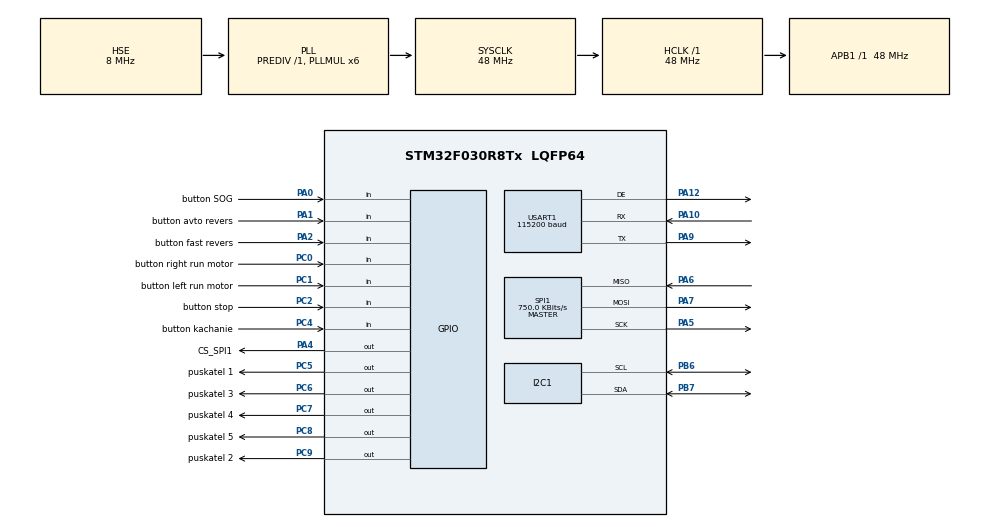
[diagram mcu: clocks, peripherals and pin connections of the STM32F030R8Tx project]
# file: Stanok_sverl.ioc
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FREERTOS.Tasks01=defaultTask,0,128,MainThred,Default;myTask02,-3,128,KompObmen,Default;myTask03,-3,128,ReadButtonThred,Default
FREERTOS.configTOTAL_HEAP_SIZE=4000
Mcu.Family=STM32F0
Mcu.Name=STM32F030R8Tx
Mcu.Package=LQFP64
NVIC.SPI1_IRQn=true\:0\:0\:false\:false\:true\:false
NVIC.TIM1_BRK_UP_TRG_COM_IRQn=true\:0\:0\:false\:false\:true\:false
NVIC.TimeBase=TIM1_BRK_UP_TRG_COM_IRQn
NVIC.TimeBaseIP=TIM1
NVIC.USART1_IRQn=true\:0\:0\:false\:false\:true\:false
PA0.GPIO_Label=button SOG
PA0.Signal=GPIO_Input
PA1.GPIO_Label=button avto revers
PA1.Signal=GPIO_Input
PA10.Mode=Asynchronous
PA10.Signal=USART1_RX
PA12.Mode=Hardware Flow Control (RS485)
PA12.Signal=USART1_DE
PA13.Mode=Serial_Wire
PA13.Signal=SYS_SWDIO
PA14.Mode=Serial_Wire
PA14.Signal=SYS_SWCLK
PA2.GPIO_Label=button fast revers
PA2.Signal=GPIO_Input
PA4.GPIO_Label=CS_SPI1
PA4.Signal=GPIO_Output
PA5.Mode=Full_Duplex_Master
PA5.Signal=SPI1_SCK
PA6.Mode=Full_Duplex_Master
PA6.Signal=SPI1_MISO
PA7.Mode=Full_Duplex_Master
PA7.Signal=SPI1_MOSI
PA9.Mode=Asynchronous
PA9.Signal=USART1_TX
PB6.Mode=I2C
PB6.Signal=I2C1_SCL
PB7.Mode=I2C
PB7.Signal=I2C1_SDA
PC0.GPIO_Label=button right run motor
PC0.Signal=GPIO_Input
PC1.GPIO_Label=button left run motor
PC1.Signal=GPIO_Input
PC14-OSC32_IN.Mode=LSE-External-Oscillator
PC14-OSC32_IN.Signal=RCC_OSC32_IN
PC15-OSC32_OUT.Mode=LSE-External-Oscillator
PC15-OSC32_OUT.Signal=RCC_OSC32_OUT
PC2.GPIO_Label=button stop
PC2.Signal=GPIO_Input
PC4.GPIO_Label=button kachanie
PC4.Signal=GPIO_Input
PC5.GPIO_Label=puskatel 1
PC5.Signal=GPIO_Output
PC6.GPIO_Label=puskatel 3
PC6.Signal=GPIO_Output
PC7.GPIO_Label=puskatel 4
PC7.Signal=GPIO_Output
PC8.GPIO_Label=puskatel 5
PC8.Signal=GPIO_Output
PC9.GPIO_Label=puskatel 2
PC9.Signal=GPIO_Output
PF0-OSC_IN.Mode=HSE-External-Oscillator
PF0-OSC_IN.Signal=RCC_OSC_IN
PF1-OSC_OUT.Mode=HSE-External-Oscillator
PF1-OSC_OUT.Signal=RCC_OSC_OUT
ProjectManager.HeapSize=0x200
ProjectManager.StackSize=0x400
ProjectManager.TargetToolchain=SW4STM32
RCC.AHBFreq_Value=48000000
RCC.APB1Freq_Value=48000000
RCC.APB1TimFreq_Value=48000000
RCC.HCLKFreq_Value=48000000
RCC.PLLMUL=RCC_PLL_MUL6
RCC.PLLSourceVirtual=RCC_PLLSOURCE_HSE
RCC.SYSCLKFreq_VALUE=48000000
RCC.SYSCLKSource=RCC_SYSCLKSOURCE_PLLCLK
SPI1.BaudRatePrescaler=SPI_BAUDRATEPRESCALER_64
SPI1.CalculateBaudRate=750.0 KBits/s
SPI1.DataSize=SPI_DATASIZE_8BIT
SPI1.Mode=SPI_MODE_MASTER
USART1.BaudRate=115200
VP_FREERTOS_VS_ENABLE.Mode=Enabled
VP_SYS_VS_tim1.Mode=TIM1
board=Stanok_sverl

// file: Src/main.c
/**
  ******************************************************************************
  * File Name          : main.c
  * Description        : Main program body
  ******************************************************************************
  *
  * COPYRIGHT(c) 2016 STMicroelectronics
  *
  * Redistribution and use in source and binary forms, with or without modification,
  * are permitted provided that the following conditions are met:
  *   1. Redistributions of source code must retain the above copyright notice,
  *      this list of conditions and the following disclaimer.
  *   2. Redistributions in binary form must reproduce the above copyright notice,
  *      this list of conditions and the following disclaimer in the documentation
  *      and/or other materials provided with the distribution.
  *   3. Neither the name of STMicroelectronics nor the names of its contributors
  *      may be used to endorse or promote products derived from this software
  *      without specific prior written permission.
  *
  * THIS SOFTWARE IS PROVIDED BY THE COPYRIGHT HOLDERS AND CONTRIBUTORS "AS IS"
  * AND ANY EXPRESS OR IMPLIED WARRANTIES, INCLUDING, BUT NOT LIMITED TO, THE
  * IMPLIED WARRANTIES OF MERCHANTABILITY AND FITNESS FOR A PARTICULAR PURPOSE ARE
  * DISCLAIMED. IN NO EVENT SHALL THE COPYRIGHT HOLDER OR CONTRIBUTORS BE LIABLE
  * FOR ANY DIRECT, INDIRECT, INCIDENTAL, SPECIAL, EXEMPLARY, OR CONSEQUENTIAL
  * DAMAGES (INCLUDING, BUT NOT LIMITED TO, PROCUREMENT OF SUBSTITUTE GOODS OR
  * SERVICES; LOSS OF USE, DATA, OR PROFITS; OR BUSINESS INTERRUPTION) HOWEVER
  * CAUSED AND ON ANY THEORY OF LIABILITY, WHETHER IN CONTRACT, STRICT LIABILITY,
  * OR TORT (INCLUDING NEGLIGENCE OR OTHERWISE) ARISING IN ANY WAY OUT OF THE USE
  * OF THIS SOFTWARE, EVEN IF ADVISED OF THE POSSIBILITY OF SUCH DAMAGE.
  *
  ******************************************************************************
  */
#include "stm32f0xx_hal.h"
#include "cmsis_os.h"
#include "i2c.h"
#include "spi.h"
#include "usart.h"
#include "gpio.h"

/* USER CODE BEGIN PV */
/* Private variables ---------------------------------------------------------*/

/* USER CODE END PV */

void SystemClock_Config(void);
void Error_Handler(void);
void MX_FREERTOS_Init(void);

/* USER CODE BEGIN PFP */
/* Private function prototypes -----------------------------------------------*/

/* USER CODE END PFP */

int main(void)
{

  /* MCU Configuration----------------------------------------------------------*/

  /* Reset of all peripherals, Initializes the Flash interface and the Systick. */
  HAL_Init();

  /* Configure the system clock */
  SystemClock_Config();

  /* Initialize all configured peripherals */
  MX_GPIO_Init();
  MX_SPI1_Init();
  MX_USART1_UART_Init();
  MX_I2C1_Init();

  /* Call init function for freertos objects (in freertos.c) */
  MX_FREERTOS_Init();

  /* Start scheduler */
  osKernelStart();

  /* We should never get here as control is now taken by the scheduler */

  /* Infinite loop */
  while (1)
  {

  }

}

/** System Clock Configuration
*/
void SystemClock_Config(void)
{

  RCC_OscInitTypeDef RCC_OscInitStruct;
  RCC_ClkInitTypeDef RCC_ClkInitStruct;
  RCC_PeriphCLKInitTypeDef PeriphClkInit;

  RCC_OscInitStruct.OscillatorType = RCC_OSCILLATORTYPE_HSI|RCC_OSCILLATORTYPE_HSE;
  RCC_OscInitStruct.HSEState = RCC_HSE_ON;
  RCC_OscInitStruct.HSIState = RCC_HSI_ON;
  RCC_OscInitStruct.HSICalibrationValue = 16;
  RCC_OscInitStruct.PLL.PLLState = RCC_PLL_ON;
  RCC_OscInitStruct.PLL.PLLSource = RCC_PLLSOURCE_HSE;
  RCC_OscInitStruct.PLL.PLLMUL = RCC_PLL_MUL6;
  RCC_OscInitStruct.PLL.PREDIV = RCC_PREDIV_DIV1;
  if (HAL_RCC_OscConfig(&RCC_OscInitStruct) != HAL_OK)
  {
    Error_Handler();
  }

  RCC_ClkInitStruct.ClockType = RCC_CLOCKTYPE_HCLK|RCC_CLOCKTYPE_SYSCLK
                              |RCC_CLOCKTYPE_PCLK1;
  RCC_ClkInitStruct.SYSCLKSource = RCC_SYSCLKSOURCE_PLLCLK;
  RCC_ClkInitStruct.AHBCLKDivider = RCC_SYSCLK_DIV1;
  RCC_ClkInitStruct.APB1CLKDivider = RCC_HCLK_DIV1;
  if (HAL_RCC_ClockConfig(&RCC_ClkInitStruct, FLASH_LATENCY_1) != HAL_OK)
  {
    Error_Handler();
  }

  PeriphClkInit.PeriphClockSelection = RCC_PERIPHCLK_USART1|RCC_PERIPHCLK_I2C1;
  PeriphClkInit.Usart1ClockSelection = RCC_USART1CLKSOURCE_PCLK1;
  PeriphClkInit.I2c1ClockSelection = RCC_I2C1CLKSOURCE_HSI;
  if (HAL_RCCEx_PeriphCLKConfig(&PeriphClkInit) != HAL_OK)
  {
    Error_Handler();
  }

  HAL_SYSTICK_Config(HAL_RCC_GetHCLKFreq()/1000);

  HAL_SYSTICK_CLKSourceConfig(SYSTICK_CLKSOURCE_HCLK);

  /* SysTick_IRQn interrupt configuration */
  HAL_NVIC_SetPriority(SysTick_IRQn, 3, 0);
}

void HAL_TIM_PeriodElapsedCallback(TIM_HandleTypeDef *htim)
{
  if (htim->Instance == TIM1) {
    HAL_IncTick();
  }
}

void Error_Handler(void)
{
  while(1)
  {
  }
}

/************************ (C) COPYRIGHT STMicroelectronics *****END OF FILE****/

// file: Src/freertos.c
/**
  ******************************************************************************
  * File Name          : freertos.c
  * Description        : Code for freertos applications
  ******************************************************************************
  *
  * COPYRIGHT(c) 2016 STMicroelectronics
  *
  * Redistribution and use in source and binary forms, with or without modification,
  * are permitted provided that the following conditions are met:
  *   1. Redistributions of source code must retain the above copyright notice,
  *      this list of conditions and the following disclaimer.
  *   2. Redistributions in binary form must reproduce the above copyright notice,
  *      this list of conditions and the following disclaimer in the documentation
  *      and/or other materials provided with the distribution.
  *   3. Neither the name of STMicroelectronics nor the names of its contributors
  *      may be used to endorse or promote products derived from this software
  *      without specific prior written permission.
  *
  * THIS SOFTWARE IS PROVIDED BY THE COPYRIGHT HOLDERS AND CONTRIBUTORS "AS IS"
  * AND ANY EXPRESS OR IMPLIED WARRANTIES, INCLUDING, BUT NOT LIMITED TO, THE
  * IMPLIED WARRANTIES OF MERCHANTABILITY AND FITNESS FOR A PARTICULAR PURPOSE ARE
  * DISCLAIMED. IN NO EVENT SHALL THE COPYRIGHT HOLDER OR CONTRIBUTORS BE LIABLE
  * FOR ANY DIRECT, INDIRECT, INCIDENTAL, SPECIAL, EXEMPLARY, OR CONSEQUENTIAL
  * DAMAGES (INCLUDING, BUT NOT LIMITED TO, PROCUREMENT OF SUBSTITUTE GOODS OR
  * SERVICES; LOSS OF USE, DATA, OR PROFITS; OR BUSINESS INTERRUPTION) HOWEVER
  * CAUSED AND ON ANY THEORY OF LIABILITY, WHETHER IN CONTRACT, STRICT LIABILITY,
  * OR TORT (INCLUDING NEGLIGENCE OR OTHERWISE) ARISING IN ANY WAY OUT OF THE USE
  * OF THIS SOFTWARE, EVEN IF ADVISED OF THE POSSIBILITY OF SUCH DAMAGE.
  *
  ******************************************************************************
  */

#include "FreeRTOS.h"
#include "task.h"
#include "cmsis_os.h"

/* USER CODE BEGIN Includes */
#include "stm32f0xx_hal.h"
#include "user.h"
/* USER CODE END Includes */

osThreadId defaultTaskHandle;
osThreadId myTask02Handle;
osThreadId myTask03Handle;

/* USER CODE BEGIN Variables */
UserFlag Flag;

uint16_t delayTormozRunRight = 2000;
uint16_t delayTormozRunLeft = 2000;
uint16_t delayTormogenie = 2000;
uint16_t delayKachanie = 500;
/* USER CODE END Variables */

void MainThred(void const * argument);
void KompObmen(void const * argument);
void ReadButtonThred(void const * argument);

void MX_FREERTOS_Init(void); /* (MISRA C 2004 rule 8.1) */

/* USER CODE BEGIN FunctionPrototypes */
void FunctionSOG(GPIO_PinState pinState);
void FunctionRunRight(GPIO_PinState pinState);
void FunctionRunLeft(GPIO_PinState pinState);
void FunctionTormogenie(GPIO_PinState pinState);
void InitUserStruct(void);
/* USER CODE END FunctionPrototypes */

/* Hook prototypes */

/* Init FreeRTOS */

void MX_FREERTOS_Init(void) {

  /* Create the thread(s) */
  /* definition and creation of defaultTask */
  osThreadDef(defaultTask, MainThred, osPriorityNormal, 0, 128);
  defaultTaskHandle = osThreadCreate(osThread(defaultTask), NULL);

  /* definition and creation of myTask02 */
  osThreadDef(myTask02, KompObmen, osPriorityIdle, 0, 128);
  myTask02Handle = osThreadCreate(osThread(myTask02), NULL);

  /* definition and creation of myTask03 */
  osThreadDef(myTask03, ReadButtonThred, osPriorityIdle, 0, 128);
  myTask03Handle = osThreadCreate(osThread(myTask03), NULL);

}

/* MainThred function */
void MainThred(void const * argument)
{

  /* USER CODE BEGIN MainThred */
	InitUserStruct();//
  /* Infinite loop */
  while(1)
  {
	  if(HAL_GPIO_ReadPin(GPIOA, GPIO_PIN_0) == GPIO_PIN_RESET)//сож
	  {
		  osDelay(30);
		  FunctionSOG(GPIO_PIN_SET);
	  }
	  else
	  {
		  FunctionSOG(GPIO_PIN_RESET);
	  }
/////////////////////////////
	  if(HAL_GPIO_ReadPin(GPIOA, GPIO_PIN_2) == GPIO_PIN_RESET)//быстрый реверс
	  {
		  osDelay(30);
		  if(Flag.buttonRight == GPIO_PIN_SET)//правое вращение
		  {
			  if(Flag.runLeftMotor == GPIO_PIN_SET)
			  {
				  FunctionRunLeft(GPIO_PIN_RESET);
				  FunctionTormogenie(GPIO_PIN_SET);
				  osDelay(delayTormozRunRight);
				  FunctionTormogenie(GPIO_PIN_RESET);
				  osDelay(500);
				  FunctionRunRight(GPIO_PIN_SET);
			  }
			  else
			  {
				  FunctionRunRight(GPIO_PIN_SET);
			  }
		  }
		  ////////////////////////////////////
		  if(Flag.buttonLeft == GPIO_PIN_SET)//левое вращение
		  {
			  if(Flag.runRightMotor == GPIO_PIN_SET)
			  {
				  FunctionRunRight(GPIO_PIN_RESET);
				  FunctionTormogenie(GPIO_PIN_SET);
				  osDelay(delayTormozRunLeft);
				  FunctionTormogenie(GPIO_PIN_RESET);
				  osDelay(500);
				  FunctionRunLeft(GPIO_PIN_SET);
			  }
			  else
			  {
				  FunctionRunLeft(GPIO_PIN_SET);
			  }
		  }
	  }
	  else//быстрый реверс включен
	  {
		  if(Flag.buttonLeft == GPIO_PIN_SET)//реверс левого вращения
		  {
			  if(Flag.buttonLeft == GPIO_PIN_SET)
			  {
				  FunctionRunLeft(GPIO_PIN_RESET);
				  FunctionTormogenie(GPIO_PIN_SET);
				  osDelay(delayTormozRunLeft);
				  FunctionTormogenie(GPIO_PIN_RESET);
				  osDelay(500);
				  FunctionRunRight(GPIO_PIN_SET);
			  }
			  else
			  {
				  FunctionRunRight(GPIO_PIN_SET);
			  }
		  }
		  if(Flag.buttonRight == GPIO_PIN_SET)
		  {
			  if(Flag.buttonRight == GPIO_PIN_SET)
			  {
				  FunctionRunRight(GPIO_PIN_RESET);
				  FunctionTormogenie(GPIO_PIN_SET);
				  osDelay(delayTormozRunRight);
				  FunctionTormogenie(GPIO_PIN_RESET);
				  FunctionRunLeft(GPIO_PIN_SET);
			  }
			  else
			  {
				  FunctionRunLeft(GPIO_PIN_SET);
			  }
		  }
	  }
//////////////////////////////////////////
		if(Flag.buttonAvtoRevers == GPIO_PIN_SET)//автоматический реверс
		{
			if(Flag.runLeftMotor == GPIO_PIN_SET)
			{
				FunctionRunLeft(GPIO_PIN_RESET);
				osDelay(500);
				FunctionRunRight(GPIO_PIN_SET);
			}
			else if(Flag.runRightMotor == GPIO_PIN_SET)
			{
				FunctionRunRight(GPIO_PIN_RESET);
				osDelay(500);
				FunctionRunLeft(GPIO_PIN_SET);
			}
		}
////////////////////////////////
		if(Flag.buttonKachanie == GPIO_PIN_SET)//кнопка качание
		{
			Flag.kachanie = GPIO_PIN_SET;
			while(Flag.kachanie == GPIO_PIN_SET)
			{
				HAL_GPIO_WritePin(GPIOC, GPIO_PIN_7, GPIO_PIN_SET);
				osDelay(delayKachanie);
				HAL_GPIO_WritePin(GPIOC, GPIO_PIN_7, GPIO_PIN_RESET);
				osDelay(200);
				HAL_GPIO_WritePin(GPIOC, GPIO_PIN_8, GPIO_PIN_SET);
				osDelay(delayKachanie);
				HAL_GPIO_WritePin(GPIOC, GPIO_PIN_8, GPIO_PIN_RESET);
				osDelay(200);

				if(Flag.buttonLeft == GPIO_PIN_SET)//если нажата одна из кнопок выходим из цикла
				{
					Flag.buttonKachanie = GPIO_PIN_RESET;
				}
				if(Flag.buttonRight == GPIO_PIN_SET)
				{
					Flag.buttonKachanie = GPIO_PIN_RESET;
				}
			}
		}
////////////////////////////////
		if(Flag.buttonStop == GPIO_PIN_SET)//кнопка стоп
		{
			if(Flag.runLeftMotor == GPIO_PIN_SET)
			{
				FunctionRunLeft(GPIO_PIN_RESET);
			}
			else if(Flag.runRightMotor == GPIO_PIN_SET)
			{
				FunctionRunRight(GPIO_PIN_RESET);
			}
			else if(Flag.kachanie == GPIO_PIN_SET)
			{
				Flag.kachanie = GPIO_PIN_RESET;
			}
			FunctionTormogenie(GPIO_PIN_SET);
			osDelay(delayTormogenie);
			FunctionTormogenie(GPIO_PIN_RESET);
		}
    osDelay(1);
  }
  /* USER CODE END MainThred */
}

/* KompObmen function */
void KompObmen(void const * argument)
{
  while(1)
  {
    osDelay(1);
  }
}

/* ReadButtonThred function */
void ReadButtonThred(void const * argument)
{
  /* USER CODE BEGIN ReadButtonThred */
  /* Infinite loop */
  while(1)
  {
	  if(HAL_GPIO_ReadPin(GPIOC, GPIO_PIN_0) == GPIO_PIN_RESET)//кнопка правое вращение
	  {
		  osDelay(50);
		  Flag.buttonRight = GPIO_PIN_SET;
	  }
	  if(HAL_GPIO_ReadPin(GPIOC, GPIO_PIN_1) == GPIO_PIN_RESET)//левое вращение
	  {
		  osDelay(50);
		  Flag.buttonLeft = GPIO_PIN_SET;
	  }
	  if(HAL_GPIO_ReadPin(GPIOA, GPIO_PIN_5) == GPIO_PIN_RESET)//кнопка автореверс
	  {
		  osDelay(50);
		  Flag.buttonAvtoRevers = GPIO_PIN_SET;
	  }
	  if(HAL_GPIO_ReadPin(GPIOC, GPIO_PIN_4) == GPIO_PIN_RESET)//кнопка качание
	  {
		  osDelay(50);
		  Flag.buttonKachanie = GPIO_PIN_SET;
	  }
	  if(HAL_GPIO_ReadPin(GPIOC, GPIO_PIN_2) == GPIO_PIN_RESET)//кнопка стоп
	  {
		  osDelay(50);
		  Flag.buttonStop = GPIO_PIN_SET;
	  }
    osDelay(1);
  }
  /* USER CODE END ReadButtonThred */
}

/* USER CODE BEGIN Application */
void FunctionSOG(GPIO_PinState pinstate)
{
	HAL_GPIO_WritePin(GPIOC, GPIO_PIN_9, pinstate);
}
/////////////////////////////////////////
void FunctionRunRight(GPIO_PinState pinState)
{
	HAL_GPIO_WritePin(GPIOC, GPIO_PIN_5, pinState);
	Flag.runRightMotor = pinState;
}
/////////////////////////////////////////
void FunctionRunLeft(GPIO_PinState pinState)
{
	HAL_GPIO_WritePin(GPIOC, GPIO_PIN_6, pinState);
	Flag.runLeftMotor = pinState;
}
/////////////////////////////////////////
void FunctionTormogenie(GPIO_PinState pinState)
{
	HAL_GPIO_WritePin(GPIOC, GPIO_PIN_7, pinState);
	HAL_GPIO_WritePin(GPIOC, GPIO_PIN_8, pinState);
}
/////////////////////////////////////////
void InitUserStruct(void)
{
	Flag.runLeftMotor = 0;
	Flag.runRightMotor = 0;
	Flag.kachanie = 0;
	Flag.buttonSog = 0;
	Flag.buttonLeft = 0;
	Flag.buttonRight = 0;
	Flag.buttonStop = 0;
	Flag.buttonAvtoRevers = 0;
	Flag.buttonFastRevers = 0;
	Flag.buttonKachanie = 0;
}
/////////////////////////////////////////
/* USER CODE END Application */

/************************ (C) COPYRIGHT STMicroelectronics *****END OF FILE****/
